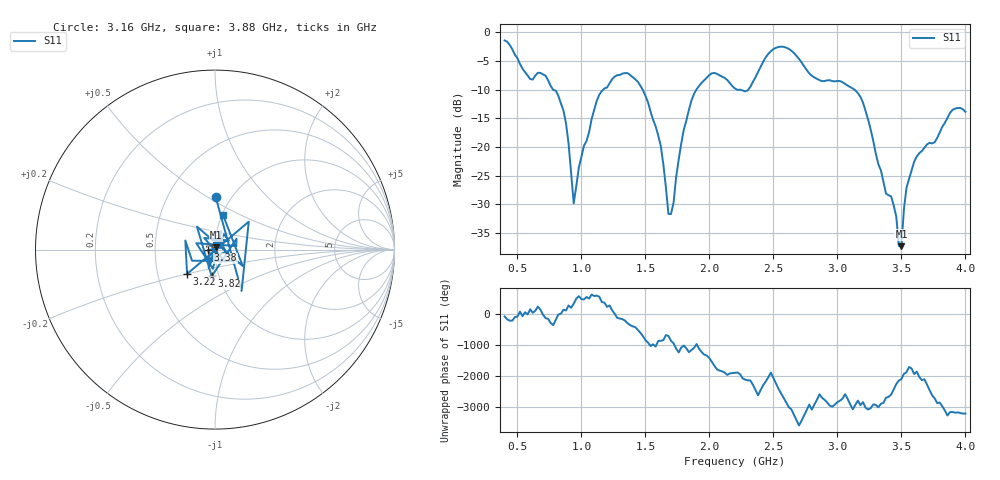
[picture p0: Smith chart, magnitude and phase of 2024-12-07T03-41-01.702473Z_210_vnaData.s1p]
!Created with skrf (http://scikit-rf.org).
# Hz S RI R 50.0
!freq ReS11 ImS11
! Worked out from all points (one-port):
!   181 points, 400 MHz to 4 GHz, reference 50 ohm
!   lowest |S11| = -37.3 dB at 3.5 GHz (marker M1), VSWR 1.03, Z = 50.5 + j1.26 ohm
!   |S11| at or under -10 dB: 779.2 MHz to 1.17 GHz (390.3 MHz wide, 40.1 % of centre); 1.479 GHz to 1.898 GHz (418.9 MHz wide, 24.8 % of centre); 3.133 GHz to end of sweep (the widest 3 of 5)
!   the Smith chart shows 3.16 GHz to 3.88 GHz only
!   S11 on the Smith chart (normalised r, x): 3.16 GHz: 0.84, +0.55; 3.22 GHz: 0.71, -0.20; 3.38 GHz: 0.92, -0.00; 3.82 GHz: 0.92, -0.28; 3.88 GHz: 1.01, +0.41
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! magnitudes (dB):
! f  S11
! 400 MHz  -1.4
! 720 MHz  -7.5
! 860 MHz  -13.6
! 940 MHz  -29.8
! 1.12 GHz  -11.9
! 1.3 GHz  -7.4
! 1.52 GHz  -12.2
! 1.62 GHz  -19.8
! 1.68 GHz  -31.7
! 1.72 GHz  -29.7
! 1.76 GHz  -22.2
! 1.92 GHz  -9.3
! 2.04 GHz  -7.1
! 2.2 GHz  -9.8
! 2.3 GHz  -10.1
! 2.5 GHz  -2.9
! 2.66 GHz  -3.6
! 3.1 GHz  -9.5
! 3.16 GHz  -10.6
! 3.22 GHz  -13.7
! 3.38 GHz  -28.2
! 3.42 GHz  -28.6
! 3.5 GHz  -37.3
! 3.52 GHz  -30.8
! 3.56 GHz  -25.6
! 3.82 GHz  -16.5
! 3.88 GHz  -14.1
! 4 GHz  -13.9
